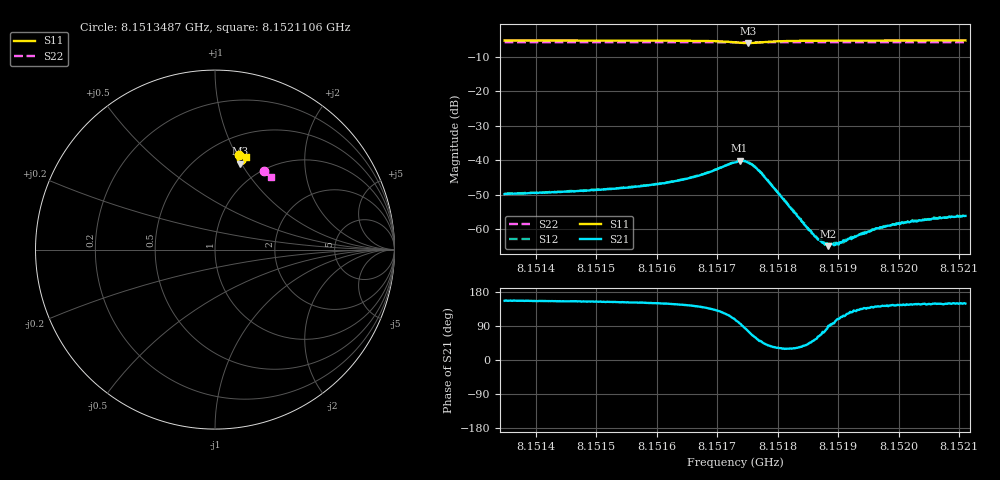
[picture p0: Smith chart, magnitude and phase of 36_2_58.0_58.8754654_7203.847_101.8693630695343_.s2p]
#  HZ  S  RI  R  50.00
! Rohde & Schwarz Vector Network Analyzer
! Rohde-Schwarz,ZNB20-2Port,1311601062101988,3.16
! Created: UTC 3/21/2024, 12:51:53 AM
! freq[Hz]  re:S11  im:S11  re:S21  im:S21  re:S12  im:S12  re:S22  im:S22
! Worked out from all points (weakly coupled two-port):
!   401 points, 8.1513487 GHz to 8.1521106 GHz, reference 50 ohm
!   highest |S21| = -40.17 dB at 8.1517373 GHz (marker M1); lowest = -64.9 dB at 8.1518839 GHz (marker M2)
!   lowest |S11| = -6.0 dB at 8.1517506 GHz (marker M3), VSWR 2.99, Z = 38.9 + j49.5 ohm
!   |S11| at or under -10 dB: nowhere
!   |S22| runs from -5.8 to -5.8 dB; largest |S21 - S12| = 0.00022
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8.15134872e9  0.131 0.5278  -0.00296 0.0013  -0.00297 0.00134  0.2732 0.4354
8.15147633e9  0.1413 0.5249  -0.00324 0.00158  -0.00325 0.00161  0.2801 0.4309
8.15155632e9  0.1489 0.5224  -0.00356 0.0019  -0.0036 0.00196  0.2843 0.4279
8.15160393e9  0.1542 0.52  -0.00391 0.00229  -0.00393 0.00239  0.2871 0.4258
8.15164393e9  0.1597 0.5166  -0.00432 0.00296  -0.00432 0.00305  0.289 0.4244
8.1516744e9  0.1646 0.5116  -0.00472 0.00399  -0.00471 0.00406  0.2908 0.4229
8.15172964e9  0.164 0.4839  -0.00269 0.00889  -0.00266 0.00908  0.2931 0.42
8.15173726e9  0.1576 0.4792  -0.00113 0.00975  -0.0011 0.0097  0.293 0.4197
8.15175059e9  0.1419 0.4781  0.00205 0.00916  0.00217 0.00916  0.2932 0.4195
8.15176202e9  0.1312 0.4862  0.00396 0.00703  0.00406 0.00704  0.2935 0.4194
8.15177344e9  0.1277 0.4969  0.00434 0.00493  0.00444 0.00474  0.2942 0.4195
8.15184772e9  0.1458 0.5189  0.000832 0.000692  0.000825 0.000727  0.2989 0.4171
8.15185725e9  0.1475 0.5193  0.000571 0.000667  0.000601 0.000611  0.2994 0.4169
8.15186296e9  0.1486 0.5194  0.000445 0.000629  0.000477 0.000639  0.2996 0.4167
8.15187439e9  0.1505 0.5195  0.000172 0.000609  0.000203 0.000591  0.3002 0.4163
8.15188391e9  0.1519 0.5195  -3.97e-06 0.000568  6.75e-05 0.000606  0.3008 0.4157
8.15190105e9  0.1544 0.5195  -0.000186 0.00057  -0.000208 0.000597  0.3019 0.4152
8.15194676e9  0.1596 0.5191  -0.000627 0.000617  -0.000673 0.000629  0.3041 0.4133
8.15196009e9  0.1611 0.5188  -0.000765 0.000639  -0.000717 0.000684  0.305 0.4128
8.15198485e9  0.1634 0.5184  -0.000906 0.000665  -0.000943 0.000685  0.3063 0.4119
8.15202295e9  0.1668 0.5177  -0.00108 0.000725  -0.00111 0.000783  0.3082 0.4104
8.15211056e9  0.174 0.5158  -0.00134 0.0008  -0.00134 0.000814  0.3126 0.4068
